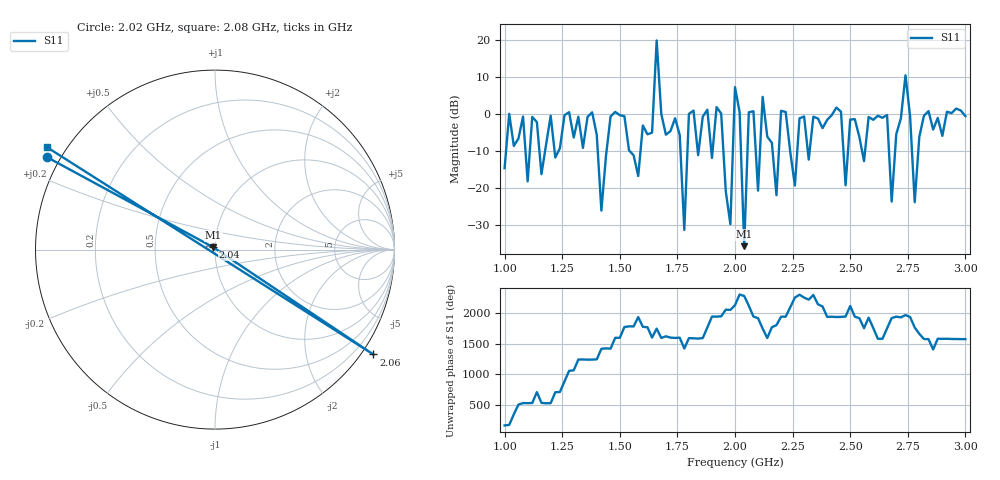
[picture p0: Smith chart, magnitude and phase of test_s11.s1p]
# MHz S MA R 50
!  freq  S11
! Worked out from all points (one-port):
!   101 points, 1 GHz to 3 GHz, reference 50 ohm
!   lowest |S11| = -35.6 dB at 2.04 GHz (marker M1), VSWR 1.03, Z = 49 + j1.29 ohm
!   |S11| at or under -10 dB: 1.404 GHz to 1.442 GHz (38.1 MHz wide, 2.68 % of centre); 1.543 GHz to 1.59 GHz (46.36 MHz wide, 2.96 % of centre); 1.95 GHz to 1.991 GHz (40.98 MHz wide, 2.08 % of centre) (the widest 3 of 19)
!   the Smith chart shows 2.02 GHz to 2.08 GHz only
!   S11 on the Smith chart (normalised r, x): 2.02 GHz: -0.03, +0.26; 2.04 GHz: 0.98, +0.03; 2.06 GHz: -0.34, -3.29; 2.08 GHz: -0.05, +0.28
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1000  0.1868 155.8
1260  0.9694 162.6
1280  1.062 -25.2
1320  0.9221 161.1
1460  0.9317 -19.7
1500  0.9696 158.9
1520  0.9371 -23.9
1640  0.5628 163.0
1660  9.875 -50.5
1680  1.01 156.7
1760  0.5228 161.1
1860  0.9245 154.4
1880  1.147 -30.4
1940  1.02 152.6
1980  0.03262 -101.6
2000  2.314 -23.8
2020  1.067 151.2
2040  0.01652 127.0
2060  1.058 -33.5
2080  1.095 148.7
2120  1.709 -49.0
2260  0.1088 101.7
2500  0.8437 -37.3
2660  0.9727 -45.9
2720  0.8767 135.2
2740  3.342 173.0
2760  0.9371 141.7
3000  0.9399 137.5
